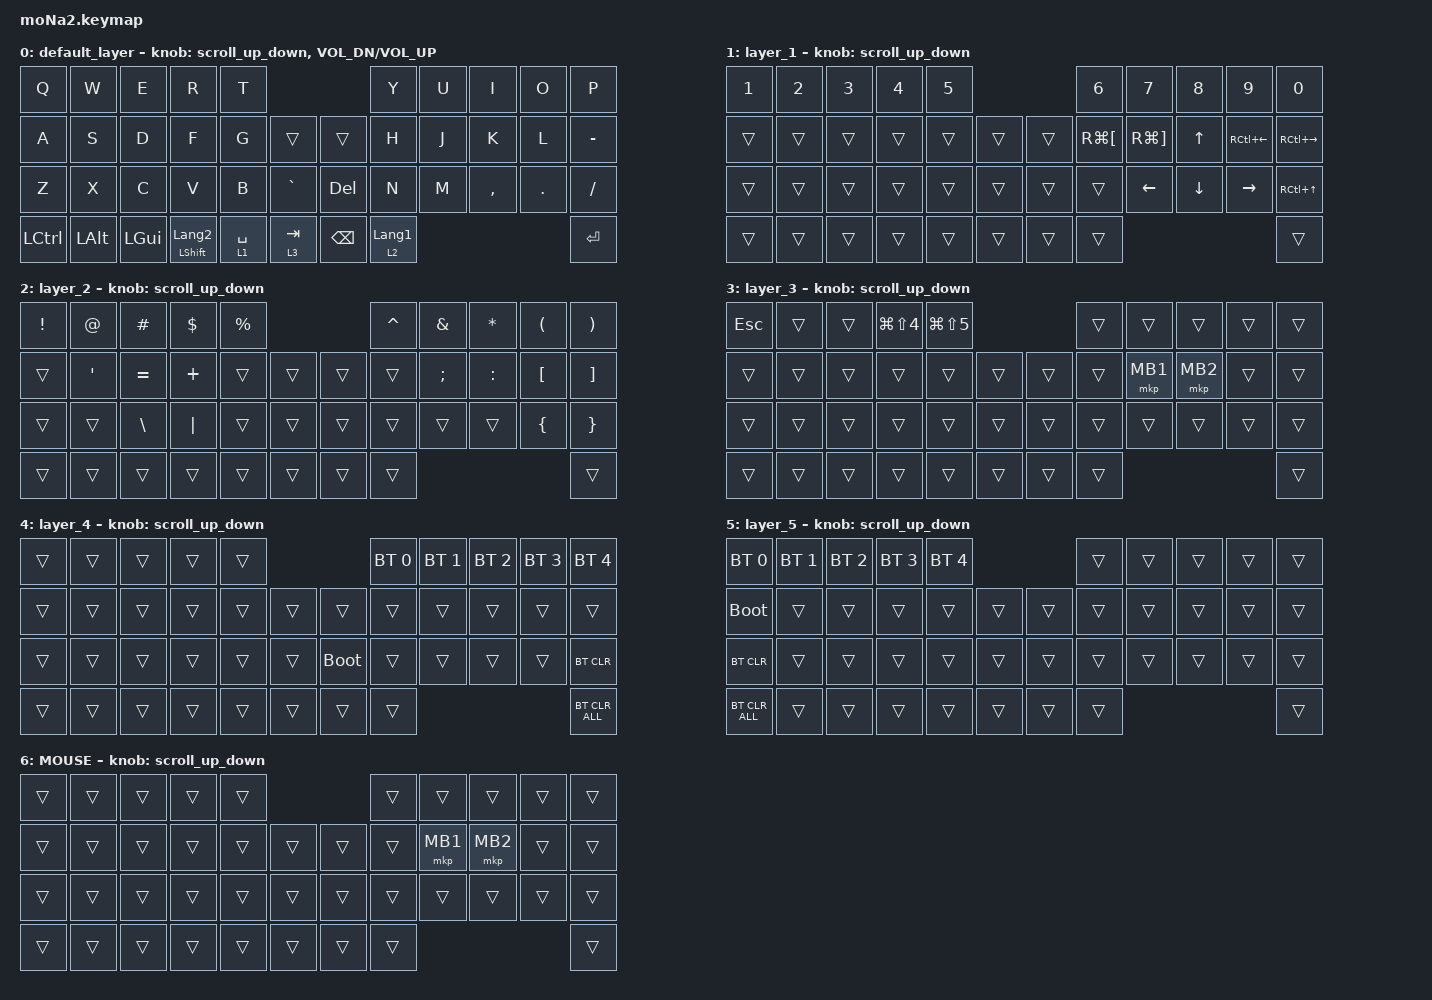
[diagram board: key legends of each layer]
#include <behaviors.dtsi>
#include <dt-bindings/zmk/bt.h>
#include <dt-bindings/zmk/keys.h>
#include <dt-bindings/zmk/pointing.h>

#define ZMK_POINTING_DEFAULT_SCRL_VAL 100
#define MOUSE 6

&mt {
    flavor = "balanced";
    quick-tap-ms = <0>;
};

/ {
    combos {
        compatible = "zmk,combos";

        momentary_scroll_layer {
            bindings = <&mo 5>;
            key-positions = <18 19>;
        };
    };

    macros {
        to_layer_0: to_layer_0 {
            compatible = "zmk,behavior-macro-one-param";
            #binding-cells = <1>;
            bindings = <&to 0 &macro_param_1to1 &kp MACRO_PLACEHOLDER>;
            label = "TO_LAYER_0";
        };
    };

    behaviors {
        lt_to_layer_0: lt_to_layer_0 {
            compatible = "zmk,behavior-hold-tap";
            label = "LAYER_TAP_TO_0";
            bindings = <&mo>, <&to_layer_0>;

            #binding-cells = <2>;
            tapping-term-ms = <200>;
        };

        scroll_up_down: behavior_sensor_rotate_mouse_wheel_up_down {
            compatible = "zmk,behavior-sensor-rotate";
            #sensor-binding-cells = <0>;
            bindings = <&msc SCRL_UP>, <&msc SCRL_DOWN>;

            tap-ms = <20>;
        };
    };

    keymap {
        compatible = "zmk,keymap";

        default_layer {
            bindings = <
&kp Q      &kp W         &kp E         &kp R                      &kp T                                    &kp Y             &kp U  &kp I      &kp O    &kp P
&kp A      &kp S         &kp D         &kp F                      &kp G        &trans       &trans         &kp H             &kp J  &kp K      &kp L    &kp MINUS
&kp Z      &kp X         &kp C         &kp V                      &kp B        &kp GRAVE    &kp DELETE     &kp N             &kp M  &kp COMMA  &kp DOT  &kp SLASH
&kp LCTRL  &kp LEFT_ALT  &kp LEFT_GUI  &mt LEFT_SHIFT LANGUAGE_2  &lt 1 SPACE  &lt 3 TAB    &kp BACKSPACE  &lt 2 LANGUAGE_1                             &kp ENTER
            >;

            sensor-bindings =
                <&scroll_up_down>,
                <&inc_dec_kp C_VOL_DN C_VOL_UP>;
        };

        layer_1 {
            bindings = <
&kp N1  &kp N2  &kp N3  &kp N4  &kp N5                    &kp N6                &kp N7                 &kp N8          &kp N9              &kp N0
&trans  &trans  &trans  &trans  &trans  &trans    &trans  &kp RG(LEFT_BRACKET)  &kp RG(RIGHT_BRACKET)  &kp UP_ARROW    &kp RC(LEFT_ARROW)  &kp RC(RIGHT_ARROW)
&trans  &trans  &trans  &trans  &trans  &trans    &trans  &trans                &kp LEFT_ARROW         &kp DOWN_ARROW  &kp RIGHT_ARROW     &kp RC(UP_ARROW)
&trans  &trans  &trans  &trans  &trans  &trans    &trans  &trans                                                                           &trans
            >;

            sensor-bindings = <&scroll_up_down>;
        };

        layer_2 {
            bindings = <
&kp EXCLAMATION  &kp AT_SIGN       &kp HASH       &kp DOLLAR  &kp PERCENT                    &kp CARET  &kp AMPERSAND  &kp ASTERISK  &kp LEFT_PARENTHESIS  &kp RIGHT_PARENTHESIS
&trans           &kp SINGLE_QUOTE  &kp EQUAL      &kp PLUS    &trans       &trans    &trans  &trans     &kp SEMICOLON  &kp COLON     &kp LEFT_BRACKET      &kp RIGHT_BRACKET
&trans           &trans            &kp BACKSLASH  &kp PIPE    &trans       &trans    &trans  &trans     &trans         &trans        &kp LEFT_BRACE        &kp RIGHT_BRACE
&trans           &trans            &trans         &trans      &trans       &trans    &trans  &trans                                                        &trans
            >;

            sensor-bindings = <&scroll_up_down>;
        };

        layer_3 {
            bindings = <
&kp ESCAPE  &trans  &trans  &kp LG(LS(NUMBER_4))  &kp LG(LS(NUMBER_5))                    &trans  &trans    &trans    &trans  &trans
&trans      &trans  &trans  &trans                &trans                &trans    &trans  &trans  &mkp MB1  &mkp MB2  &trans  &trans
&trans      &trans  &trans  &trans                &trans                &trans    &trans  &trans  &trans    &trans    &trans  &trans
&trans      &trans  &trans  &trans                &trans                &trans    &trans  &trans                              &trans
            >;

            sensor-bindings = <&scroll_up_down>;
        };

        layer_4 {
            bindings = <
&trans  &trans  &trans  &trans  &trans                         &bt BT_SEL 0  &bt BT_SEL 1  &bt BT_SEL 2  &bt BT_SEL 3  &bt BT_SEL 4
&trans  &trans  &trans  &trans  &trans  &trans    &trans       &trans        &trans        &trans        &trans        &trans
&trans  &trans  &trans  &trans  &trans  &trans    &bootloader  &trans        &trans        &trans        &trans        &bt BT_CLR
&trans  &trans  &trans  &trans  &trans  &trans    &trans       &trans                                                  &bt BT_CLR_ALL
            >;

            sensor-bindings = <&scroll_up_down>;
        };

        layer_5 {
            bindings = <
&bt BT_SEL 0    &bt BT_SEL 1  &bt BT_SEL 2  &bt BT_SEL 3  &bt BT_SEL 4                    &trans  &trans  &trans  &trans  &trans
&bootloader     &trans        &trans        &trans        &trans        &trans    &trans  &trans  &trans  &trans  &trans  &trans
&bt BT_CLR      &trans        &trans        &trans        &trans        &trans    &trans  &trans  &trans  &trans  &trans  &trans
&bt BT_CLR_ALL  &trans        &trans        &trans        &trans        &trans    &trans  &trans                          &trans
            >;

            sensor-bindings = <&scroll_up_down>;
        };

        MOUSE {
            bindings = <
&trans  &trans  &trans  &trans  &trans                    &trans  &trans    &trans    &trans  &trans
&trans  &trans  &trans  &trans  &trans  &trans    &trans  &trans  &mkp MB1  &mkp MB2  &trans  &trans
&trans  &trans  &trans  &trans  &trans  &trans    &trans  &trans  &trans    &trans    &trans  &trans
&trans  &trans  &trans  &trans  &trans  &trans    &trans  &trans                              &trans
            >;

            sensor-bindings = <&scroll_up_down>;
        };
    };

    conditional_layers { compatible = "zmk,conditional-layers"; };
};
